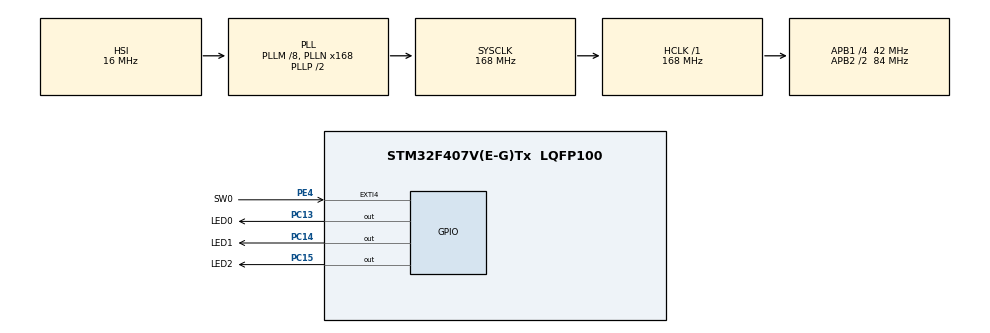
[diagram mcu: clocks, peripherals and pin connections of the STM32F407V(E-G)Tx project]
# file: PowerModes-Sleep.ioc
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Mcu.Family=STM32F4
Mcu.Name=STM32F407V(E-G)Tx
Mcu.Package=LQFP100
NVIC.EXTI4_IRQn=true\:0\:0\:false\:false\:true\:true\:true
NVIC.PriorityGroup=NVIC_PRIORITYGROUP_4
NVIC.TIM6_DAC_IRQn=true\:0\:0\:false\:false\:true\:true\:true
PC13-ANTI_TAMP.GPIO_Label=LED0
PC13-ANTI_TAMP.Signal=GPIO_Output
PC14-OSC32_IN.GPIO_Label=LED1
PC14-OSC32_IN.Signal=GPIO_Output
PC15-OSC32_OUT.GPIO_Label=LED2
PC15-OSC32_OUT.Signal=GPIO_Output
PE4.GPIO_Label=SW0
PE4.Signal=GPXTI4
ProjectManager.HeapSize=0x200
ProjectManager.StackSize=0x400
ProjectManager.TargetToolchain=MDK-ARM V5.27
RCC.48MHZClocksFreq_Value=84000000
RCC.AHBFreq_Value=168000000
RCC.APB1CLKDivider=RCC_HCLK_DIV4
RCC.APB1Freq_Value=42000000
RCC.APB1TimFreq_Value=84000000
RCC.APB2CLKDivider=RCC_HCLK_DIV2
RCC.APB2Freq_Value=84000000
RCC.APB2TimFreq_Value=168000000
RCC.CortexFreq_Value=168000000
RCC.HCLKFreq_Value=168000000
RCC.HSE_VALUE=25000000
RCC.HSI_VALUE=16000000
RCC.LSE_VALUE=32768
RCC.PLLM=8
RCC.PLLN=168
RCC.SYSCLKFreq_VALUE=168000000
RCC.SYSCLKSource=RCC_SYSCLKSOURCE_PLLCLK
RCC.VCOOutputFreq_Value=336000000
TIM6.Period=10000-1
TIM6.Prescaler=8400-1
VP_TIM6_VS_ClockSourceINT.Mode=Enable_Timer
board=custom

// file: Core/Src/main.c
/* USER CODE BEGIN Header */
/**
  ******************************************************************************
  * @file           : main.c
  * @brief          : Main program body
  ******************************************************************************
  * @attention
  *
  * <h2><center>&copy; Copyright (c) 2024 STMicroelectronics.
  * All rights reserved.</center></h2>
  *
  * This software component is licensed by ST under BSD 3-Clause license,
  * the "License"; You may not use this file except in compliance with the
  * License. You may obtain a copy of the License at:
  *                        opensource.org/licenses/BSD-3-Clause
  *
  ******************************************************************************
  */
/* USER CODE END Header */
#include "main.h"
#include "tim.h"
#include "gpio.h"

void SystemClock_Config(void);

int main(void)
{

  /* MCU Configuration--------------------------------------------------------*/

  /* Reset of all peripherals, Initializes the Flash interface and the Systick. */
  HAL_Init();

  /* Configure the system clock */
  SystemClock_Config();

  /* Initialize all configured peripherals */
  MX_GPIO_Init();
  MX_TIM6_Init();

  /* Infinite loop */
  /* USER CODE BEGIN WHILE */
  HAL_TIM_Base_Start_IT(&htim6);
  while (1)
  {
    HAL_GPIO_TogglePin(LED2_GPIO_Port, LED2_Pin);
    HAL_Delay(500);

    // Enter Sleep Mode
    HAL_PWR_EnableSleepOnExit();
    HAL_PWR_EnterSLEEPMode(PWR_MAINREGULATOR_ON, PWR_SLEEPENTRY_WFI);

    /* USER CODE END WHILE */

  }
}

void SystemClock_Config(void)
{
  RCC_OscInitTypeDef RCC_OscInitStruct = {0};
  RCC_ClkInitTypeDef RCC_ClkInitStruct = {0};

  /** Configure the main internal regulator output voltage
  */
  __HAL_RCC_PWR_CLK_ENABLE();
  __HAL_PWR_VOLTAGESCALING_CONFIG(PWR_REGULATOR_VOLTAGE_SCALE1);
  /** Initializes the RCC Oscillators according to the specified parameters
  * in the RCC_OscInitTypeDef structure.
  */
  RCC_OscInitStruct.OscillatorType = RCC_OSCILLATORTYPE_HSI;
  RCC_OscInitStruct.HSIState = RCC_HSI_ON;
  RCC_OscInitStruct.HSICalibrationValue = RCC_HSICALIBRATION_DEFAULT;
  RCC_OscInitStruct.PLL.PLLState = RCC_PLL_ON;
  RCC_OscInitStruct.PLL.PLLSource = RCC_PLLSOURCE_HSI;
  RCC_OscInitStruct.PLL.PLLM = 8;
  RCC_OscInitStruct.PLL.PLLN = 168;
  RCC_OscInitStruct.PLL.PLLP = RCC_PLLP_DIV2;
  RCC_OscInitStruct.PLL.PLLQ = 4;
  if (HAL_RCC_OscConfig(&RCC_OscInitStruct) != HAL_OK)
  {
    Error_Handler();
  }
  /** Initializes the CPU, AHB and APB buses clocks
  */
  RCC_ClkInitStruct.ClockType = RCC_CLOCKTYPE_HCLK|RCC_CLOCKTYPE_SYSCLK
                              |RCC_CLOCKTYPE_PCLK1|RCC_CLOCKTYPE_PCLK2;
  RCC_ClkInitStruct.SYSCLKSource = RCC_SYSCLKSOURCE_PLLCLK;
  RCC_ClkInitStruct.AHBCLKDivider = RCC_SYSCLK_DIV1;
  RCC_ClkInitStruct.APB1CLKDivider = RCC_HCLK_DIV4;
  RCC_ClkInitStruct.APB2CLKDivider = RCC_HCLK_DIV2;

  if (HAL_RCC_ClockConfig(&RCC_ClkInitStruct, FLASH_LATENCY_5) != HAL_OK)
  {
    Error_Handler();
  }
}

/* USER CODE BEGIN 4 */
void HAL_GPIO_EXTI_Callback(uint16_t pin) {
  switch (pin) {
    case SW0_Pin:
      HAL_GPIO_TogglePin(LED0_GPIO_Port, LED0_Pin);

      HAL_PWR_DisableSleepOnExit();

      break;
  }
}

void HAL_TIM_PeriodElapsedCallback(TIM_HandleTypeDef* htim) {
  switch ((uint32_t) htim->Instance) {
    case TIM6_BASE:
      HAL_GPIO_TogglePin(LED1_GPIO_Port, LED1_Pin);
      break;
  }
}
/* USER CODE END 4 */

void Error_Handler(void)
{
  __disable_irq();
  while (1)
  {
  }
}

/************************ (C) COPYRIGHT STMicroelectronics *****END OF FILE****/
